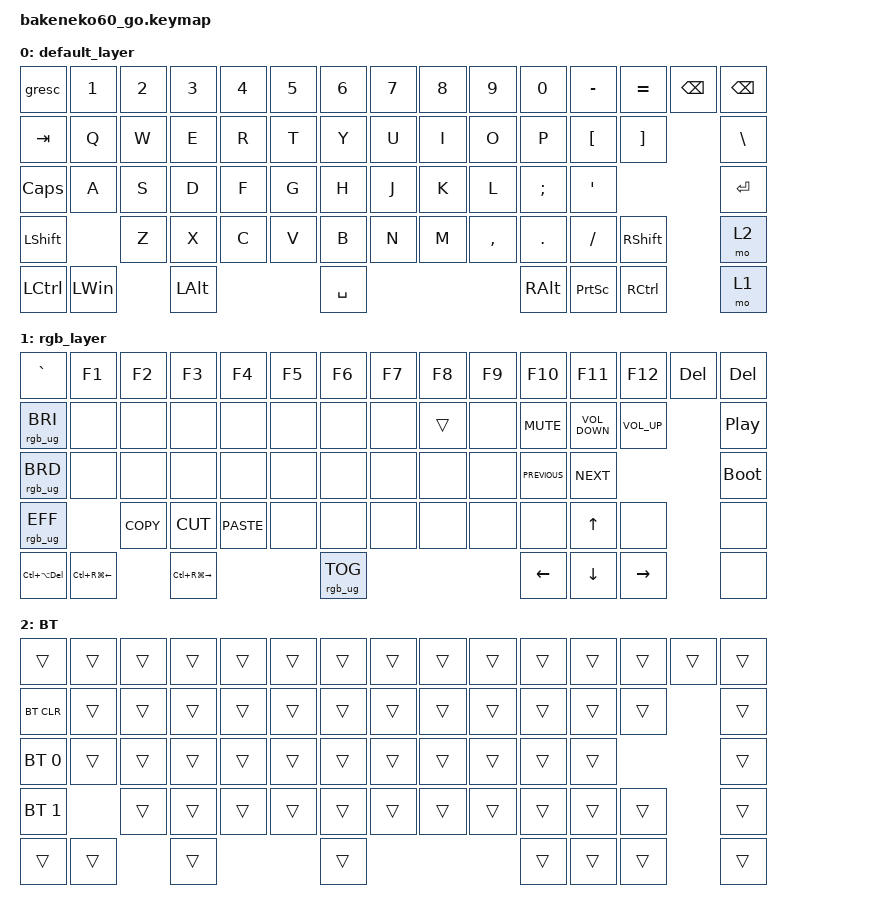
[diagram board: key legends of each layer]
/*
 * Copyright (c) 2023 Andrew Kannan
 *
 * SPDX-License-Identifier: MIT
 */

#include <behaviors.dtsi>
#include <dt-bindings/zmk/bt.h>
#include <dt-bindings/zmk/keys.h>
#include <dt-bindings/zmk/rgb.h>

/ {
    keymap {
        compatible = "zmk,keymap";

        default_layer {
            // ------------------------------------------------------------------------------------------
            // | ESC |  1  |  2  |  3  |  4  |  5  |  6  |  7  |  8  |  9  |  0  |  -  |  =  | BKSP|BKSP|
            // | TAB  |  Q  |  W  |  E  |  R  |  T  |  Y  |  U  |  I  |  O  |  P  |  [  |  ]  |   "|"   |
            // | CAPS  |  A  |  S  |  D  |  F  |  G  |  H  |  J  |  K  |  L  |  ;  |  '  |     ENTER    |
            // |  SHIFT  |  Z  |  X  |  C  |  V  |  B  |  N  |  M  |  ,  |  .  |  /  |  SHIFT  | MO(1)  |
            // |  CTL  |  WIN  |  ALT  |            SPACE              |  ALT  |  WIN  |  MO(1) |  CTL  |
            // ------------------------------------------------------------------------------------------

            bindings = <
&gresc     &kp N1    &kp N2  &kp N3    &kp N4  &kp N5  &kp N6     &kp N7  &kp N8  &kp N9     &kp N0         &kp MINUS        &kp EQUAL          &kp BACKSPACE  &kp BACKSPACE
&kp TAB    &kp Q     &kp W   &kp E     &kp R   &kp T   &kp Y      &kp U   &kp I   &kp O      &kp P          &kp LBKT         &kp RBKT                          &kp BSLH
&kp CLCK   &kp A     &kp S   &kp D     &kp F   &kp G   &kp H      &kp J   &kp K   &kp L      &kp SEMI       &kp SQT                                            &kp RET
&kp LSHFT            &kp Z   &kp X     &kp C   &kp V   &kp B      &kp N   &kp M   &kp COMMA  &kp DOT        &kp SLASH        &kp RSHFT                         &mo 2
&kp LCTRL  &kp LWIN          &kp LALT                  &kp SPACE                             &kp RIGHT_ALT  &kp PRINTSCREEN  &kp RIGHT_CONTROL                 &mo 1
            >;
        };

        rgb_layer {
            // ------------------------------------------------------------------------------------------------
            // |    `   | F1  | F2  | F3  | F4  | F5  | F6  | F7  | F8  | F9  | F10  | F11 | F12 |     | DEL  |
            // | EFCT REV|   |  UP |   | HUEUP | SATUP | BRIUP | SPDUP |      |  PGUP |    |     |    |       |
            // | EFCT FWD | LT |  DN  | RT | HUEDN | SATDN | BRIDN | SPDDN | HOME | PGDN | END  |  | BOOTLDR  |
            // |             |     |      |      |     |     |     |     |     |     |     |         |        |
            // |         |      |      |             TOG RGB                | PRT SCR |       |       |  MO(2)|
            // ------------------------------------------------------------------------------------------------

            bindings = <
&kp GRAVE           &kp F1                  &kp F2      &kp F3                   &kp F4       &kp F5  &kp F6           &kp F7  &kp F8  &kp F9  &kp F10         &kp F11            &kp F12          &kp DELETE  &kp DELETE
&rgb_ug RGB_BRI     &none                   &none       &none                    &none        &none   &none            &none   &trans  &none   &kp C_MUTE      &kp C_VOLUME_DOWN  &kp C_VOLUME_UP              &kp C_PLAY_PAUSE
&rgb_ug RGB_BRD     &none                   &none       &none                    &none        &none   &none            &none   &none   &none   &kp C_PREVIOUS  &kp C_NEXT                                      &bootloader
&rgb_ug RGB_EFF                             &kp K_COPY  &kp K_CUT                &kp K_PASTE  &none   &none            &none   &none   &none   &none           &kp UP_ARROW       &none                        &none
&kp LC(LA(DELETE))  &kp LC(RG(LEFT_ARROW))              &kp LC(RG(RIGHT_ARROW))                       &rgb_ug RGB_TOG                          &kp LEFT_ARROW  &kp DOWN_ARROW     &kp RIGHT_ARROW              &none
            >;
        };

        BT {
            bindings = <
&trans        &trans  &trans  &trans  &trans  &trans  &trans  &trans  &trans  &trans  &trans  &trans  &trans  &trans  &trans
&bt BT_CLR    &trans  &trans  &trans  &trans  &trans  &trans  &trans  &trans  &trans  &trans  &trans  &trans          &trans
&bt BT_SEL 0  &trans  &trans  &trans  &trans  &trans  &trans  &trans  &trans  &trans  &trans  &trans                  &trans
&bt BT_SEL 1          &trans  &trans  &trans  &trans  &trans  &trans  &trans  &trans  &trans  &trans  &trans          &trans
&trans        &trans          &trans                  &trans                          &trans  &trans  &trans          &trans
            >;
        };
    };

    combos { compatible = "zmk,combos"; };
};
